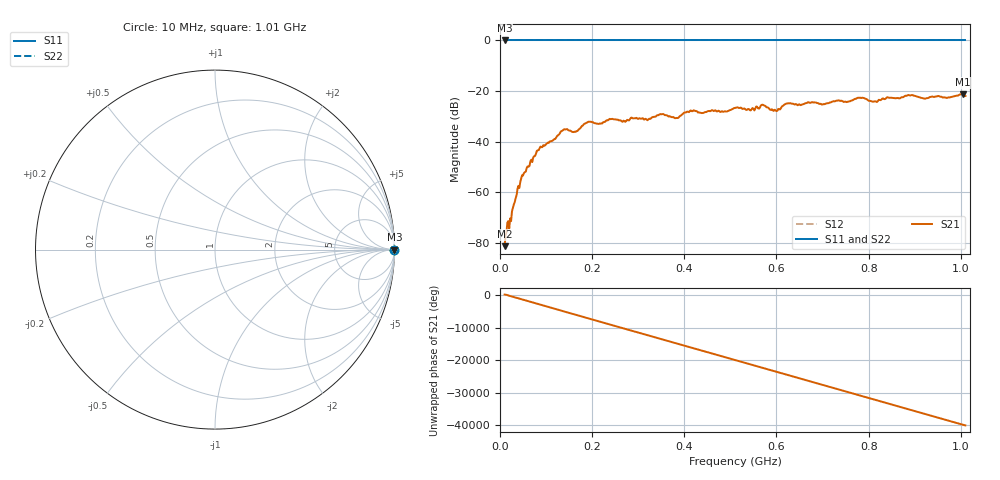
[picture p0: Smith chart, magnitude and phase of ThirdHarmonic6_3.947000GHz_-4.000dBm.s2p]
! 8/17/2025 1:59:01 PM
! C:\ANRITSUVNA\TEMP\TEMP.S2P
! CHANNEL.1
! TR.MEASUREMENT
! RAW.DATA
! RF.CORRECTION.OFF
! AVERAGING.OFF
! IF.BANDWIDTH: 5KHZ
! SWEEPTYPE:  FREQ.SWEEP(Linear)
! Reference Plane Port Info
! PORT:  PORT1  PORT2
! DISTANCE:  0  m  0  m
! TIME:  0  s  0  s
! PHASE.OFFSET:  0  deg.  0  deg.
! LOSS:  0  dB  0  dB
! REF.LOSS:  0  dB  0  dB
! REF.FREQ:  0  Hz  0  Hz
! Power Info
! POWER:  -20  dBm  -20  dBm
! EFF.POWER:  -20  dBm  -20  dBm
! SOURCE.ATTEN:  0  dB  0  dB
! TEST.ATTEN:  0  dB  0  dB
# GHZ S RI R 50.0
! FREQ.GHZ  S11RE  S11IM  S21RE  S21IM  S12RE  S12IM  S22RE  S22IM
!; PortSelection: Port_12
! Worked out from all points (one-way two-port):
!   501 points, 10 MHz to 1.01 GHz, reference 50 ohm
!   highest |S21| = -21.27 dB at 1.004 GHz (marker M1); lowest = -81.3 dB at 10 MHz (marker M2)
!   lowest |S11| = 0.0 dB at 10 MHz (marker M3)
!   |S11| at or under -10 dB: nowhere
!   |S22| runs from 0.0 to 0.0 dB; largest |S21 - S12| = 1.1
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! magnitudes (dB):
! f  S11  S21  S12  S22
! 10 MHz  0.0  -81.3  0.0  0.0
! 48 MHz  0.0  -53.2  0.0  0.0
! 84 MHz  0.0  -43.3  0.0  0.0
! 136 MHz  0.0  -35.6  0.0  0.0
! 164 MHz  0.0  -36.1  0.0  0.0
! 178 MHz  0.0  -33.8  0.0  0.0
! 194 MHz  0.0  -32.1  0.0  0.0
! 322 MHz  0.0  -31.2  0.0  0.0
! 344 MHz  0.0  -29.5  0.0  0.0
! 382 MHz  0.0  -30.6  0.0  0.0
! 416 MHz  0.0  -27.9  0.0  0.0
! 510 MHz  0.0  -26.7  0.0  0.0
! 548 MHz  0.0  -26.7  0.0  0.0
! 570 MHz  0.0  -25.4  0.0  0.0
! 598 MHz  0.0  -27.6  0.0  0.0
! 622 MHz  0.0  -24.9  0.0  0.0
! 678 MHz  0.0  -24.4  0.0  0.0
! 782 MHz  0.0  -22.6  0.0  0.0
! 814 MHz  0.0  -24.1  0.0  0.0
! 844 MHz  0.0  -22.6  0.0  0.0
! 1.004 GHz  0.0  -21.3  0.0  0.0
! 1.01 GHz  0.0  -21.9  0.0  0.0
